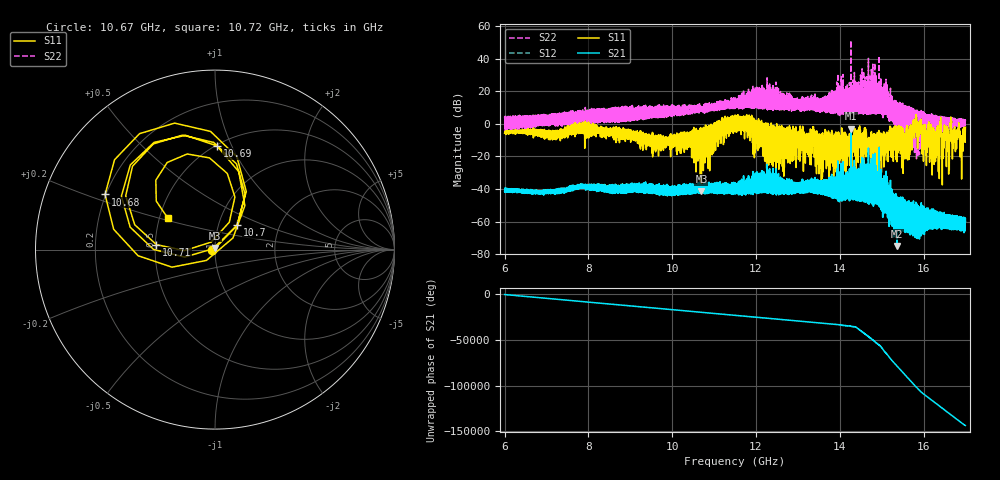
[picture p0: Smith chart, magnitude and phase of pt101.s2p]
#  HZ  S  RI  R  50.00
! Rohde & Schwarz Vector Network Analyzer
! Rohde-Schwarz,ZNA67-2Port,1332450062101215,3.01
! Created: UTC 10/19/2026, 1:04:24 PM
! freq[Hz]  re:S11  im:S11  re:S21  im:S21  re:S12  im:S12  re:S22  im:S22
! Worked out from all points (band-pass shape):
!   11001 points, 6 GHz to 17 GHz, reference 50 ohm
!   highest |S21| = -2.93 dB at 14.27 GHz (marker M1); lowest = -74.9 dB at 15.37 GHz (marker M2)
!   |S21| within 3 dB of the highest: 14.26792 GHz to 14.26808 GHz (157.5 kHz wide, 0.0011 % of centre)
!   lowest |S11| = -41.4 dB at 10.7 GHz (marker M3), VSWR 1.02, Z = 50.1 + j0.84 ohm
!   |S11| at or under -10 dB: 9.81141 GHz to 9.827685 GHz (16.27 MHz wide, 0.166 % of centre); 13.9223 GHz to 13.94811 GHz (25.81 MHz wide, 0.185 % of centre); 16.44541 GHz to 16.46431 GHz (18.9 MHz wide, 0.115 % of centre) (the widest 3 of 506)
!   |S22| runs from -21.4 to 51.2 dB; largest |S21 - S12| = 0.084
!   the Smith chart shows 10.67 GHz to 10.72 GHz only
!   S11 on the Smith chart (normalised r, x): 10.67 GHz: 0.97, +0.00; 10.68 GHz: 0.20, +0.23; 10.69 GHz: 0.51, +0.88; 10.7 GHz: 1.23, +0.35; 10.71 GHz: 0.51, +0.03; 10.72 GHz: 0.56, +0.21
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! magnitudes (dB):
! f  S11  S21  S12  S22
! 6 GHz  -5.7  -41.3  -41.3  3.3
! 7.834 GHz  -2.8  -36.9  -36.7  7.8
! 9.667 GHz  -7.0  -37.2  -37.4  11.5
! 10.67 GHz  -36.1  -36.8  -36.8  12.0
! 10.68 GHz  -3.3  -40.9  -40.8  9.3
! 10.69 GHz  -4.8  -41.5  -41.5  7.4
! 10.7 GHz  -41.4  -37.6  -37.6  10.6
! 10.7 GHz  -14.7  -38.4  -38.3  10.0
! 10.71 GHz  -9.7  -39.1  -39.1  10.0
! 10.72 GHz  -10.0  -39.1  -39.1  10.0
! 11.5 GHz  5.1  -40.3  -40.3  12.2
! 12.44 GHz  -2.7  -37.4  -37.3  15.8
! 13.33 GHz  -12.8  -39.5  -39.5  11.1
! 14.27 GHz  -11.7  -2.9  -2.6  51.2
! 15.17 GHz  -13.0  -53.5  -53.5  5.7
! 15.37 GHz  -23.2  -74.9  -75.1  -0.3
! 15.68 GHz  -2.3  -50.4  -50.5  7.7
! 15.8 GHz  -4.8  -69.5  -69.6  -17.2
! 16.05 GHz  -7.1  -52.3  -52.1  5.4
! 16.82 GHz  -7.3  -58.3  -58.3  1.5
! 16.91 GHz  -14.6  -58.5  -58.4  2.2
! 17 GHz  -2.0  -60.1  -60.3  1.6
